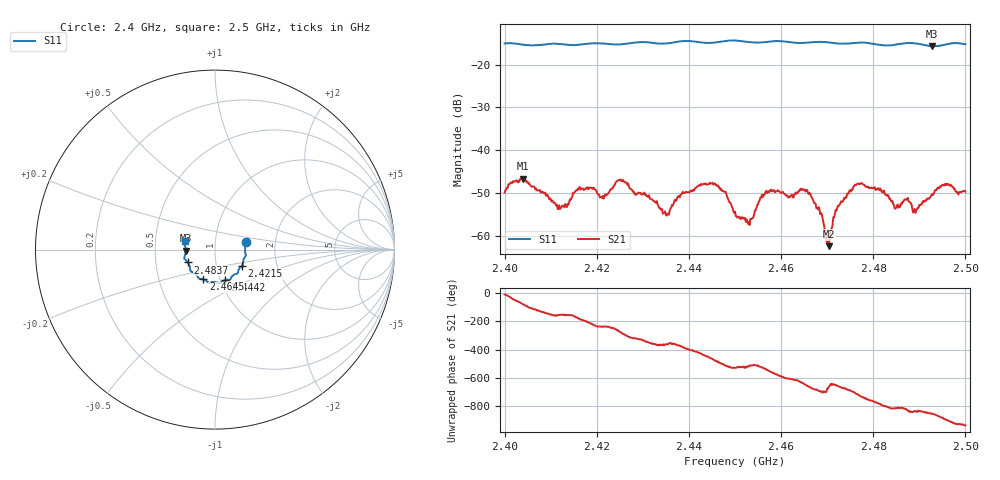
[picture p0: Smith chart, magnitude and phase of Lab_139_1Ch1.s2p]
# Hz S RI R 50
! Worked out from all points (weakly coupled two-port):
!   601 points, 2.4 GHz to 2.5 GHz, reference 50 ohm
!   highest |S21| = -46.69 dB at 2.404 GHz (marker M1); lowest = -62.5 dB at 2.4703 GHz (marker M2)
!   lowest |S11| = -15.7 dB at 2.4928 GHz (marker M3), VSWR 1.39, Z = 36 - j0.379 ohm
!   |S11| at or under -10 dB: start of sweep to end of sweep
!   S12 and S22 are empty: the file has one direction only
!   S11 on the Smith chart (normalised r, x): 2.4 GHz: 1.41, +0.12; 2.4215 GHz: 1.33, -0.25; 2.4442 GHz: 1.05, -0.37; 2.4645 GHz: 0.83, -0.29; 2.4837 GHz: 0.73, -0.11; 2.5 GHz: 0.71, +0.07
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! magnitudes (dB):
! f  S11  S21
! 2.4 GHz  -15.1  -50.0
! 2.404 GHz  -15.4  -46.7
! 2.412 GHz  -15.2  -53.7
! 2.4167 GHz  -15.3  -49.0
! 2.4215 GHz  -15.1  -51.3
! 2.4253 GHz  -15.3  -47.2
! 2.4333 GHz  -15.1  -53.0
! 2.4352 GHz  -15.1  -55.3
! 2.4442 GHz  -15.0  -48.0
! 2.45 GHz  -14.4  -54.3
! 2.4528 GHz  -14.7  -57.2
! 2.4572 GHz  -14.7  -49.8
! 2.4645 GHz  -15.0  -49.0
! 2.4667 GHz  -14.8  -51.1
! 2.4703 GHz  -14.8  -62.5
! 2.4722 GHz  -15.1  -53.6
! 2.4762 GHz  -15.0  -48.2
! 2.4833 GHz  -15.6  -50.7
! 2.4837 GHz  -15.5  -51.4
! 2.489 GHz  -15.0  -53.8
! 2.4928 GHz  -15.7  -50.2
! 2.5 GHz  -15.3  -49.8
